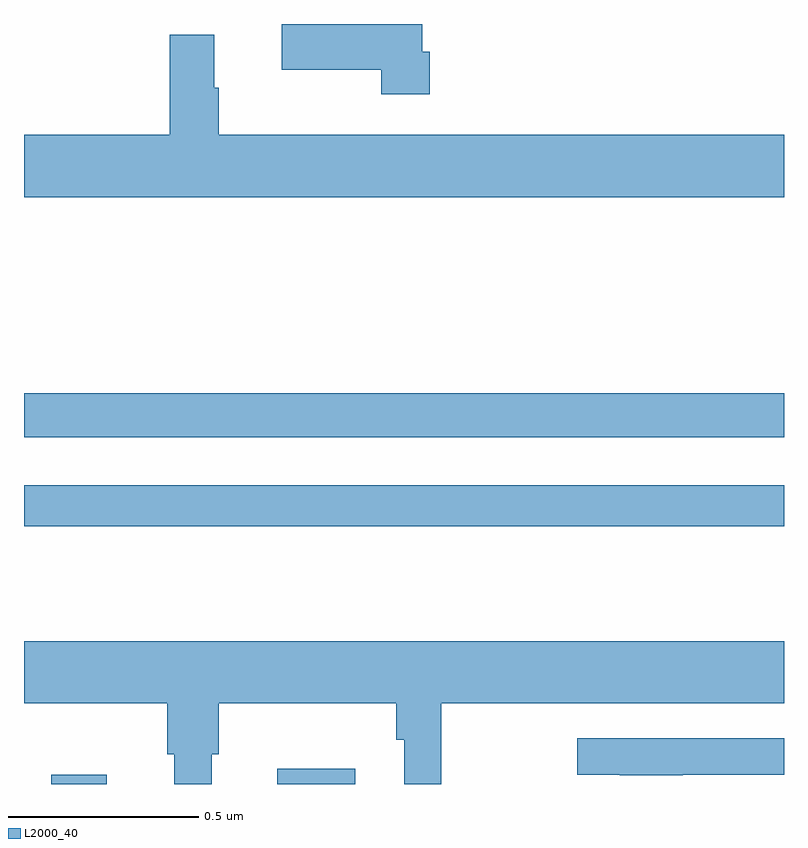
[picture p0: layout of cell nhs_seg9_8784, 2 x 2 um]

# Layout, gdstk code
import gdstk
lib = gdstk.Library(unit=1e-6, precision=1e-09)
def R(c, l, rs):  # rectangles x0, y0, x1, y1
    for r in rs: c.add(gdstk.rectangle(r[:2], r[2:], *l))
def P(c, l, *ps):  # polygons
    for p in ps: c.add(gdstk.Polygon(p, *l))
L2000_40 = (2000, 40)

nhs_seg9_8784 = lib.new_cell('nhs_seg9_8784')
R(nhs_seg9_8784, L2000_40, [(221.072,1237.5,221.218,1237.525), (221.666,1237.5,221.872,1237.54), (221,1238.178,223,1238.286), (221,1238.412,223,1238.528)])
P(nhs_seg9_8784, L2000_40, [(222.068,1239.427),(222.048,1239.427),(222.048,1239.5),(221.678,1239.5),(221.678,1239.38),(221.94,1239.38),(221.94,1239.315),(222.068,1239.315)],
  [(223,1239.208),(221.512,1239.208),(221.512,1239.332),(221.5,1239.332),(221.5,1239.472),(221.383,1239.472),(221.383,1239.208),(221,1239.208),(221,1239.044),(223,1239.044)],
  [(221.494,1237.578),(221.513,1237.578),(221.513,1237.712),(221.98,1237.712),(221.98,1237.616),(222,1237.616),(222,1237.5),(222.098,1237.5),(222.098,1237.712),(223,1237.712),(223,1237.876),(221,1237.876),(221,1237.712),(221.377,1237.712),(221.377,1237.578),(221.396,1237.578),(221.396,1237.5),(221.494,1237.5)],
  [(222.734,1237.524),(223,1237.524),(223,1237.62),(222.456,1237.62),(222.456,1237.524),(222.568,1237.524),(222.568,1237.523),(222.734,1237.523)])

lib.write_gds('nhs_seg9_8784.gds')
